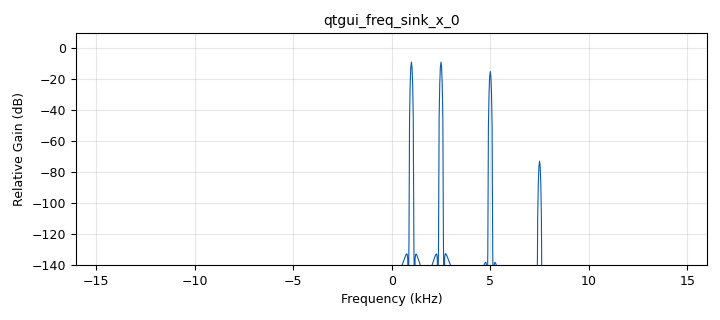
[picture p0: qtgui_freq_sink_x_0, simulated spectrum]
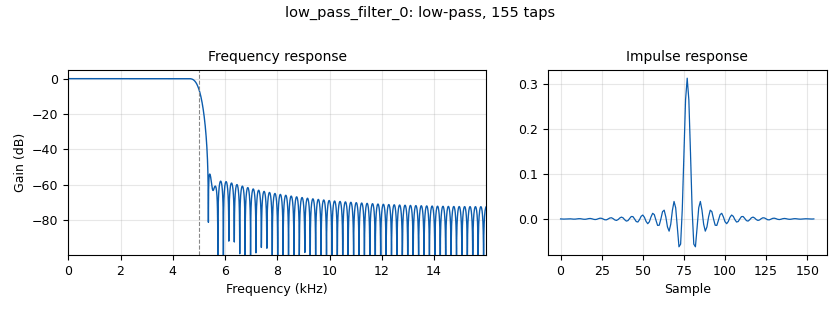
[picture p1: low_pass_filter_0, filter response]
options:
  parameters:
    generate_options: qt_gui
    id: synthetic_test
    output_language: python
    title: Not titled yet
  states: {}

blocks:
- name: cutoff
  id: variable
  parameters:
    value: cutoff_slider
  states: {}
- name: cutoff_slider
  id: variable_qtgui_range
  parameters:
    start: '0'
    step: '1'
    stop: '10000'
    value: '5000'
    widget: slider
  states: {}
- name: samp_rate
  id: variable
  parameters:
    value: '32000'
  states: {}
- name: analog_sig_source_x_0
  id: analog_sig_source_x
  parameters:
    amp: '1'
    freq: '1000'
    offset: '0'
    phase: '0'
    samp_rate: samp_rate
    type: complex
    waveform: analog.GR_COS_WAVE
  states: {}
- name: analog_sig_source_x_1
  id: analog_sig_source_x
  parameters:
    amp: '1'
    freq: '5000'
    offset: '0'
    phase: '0'
    samp_rate: samp_rate
    type: complex
    waveform: analog.GR_COS_WAVE
  states: {}
- name: analog_sig_source_x_2
  id: analog_sig_source_x
  parameters:
    amp: '1'
    freq: '2500'
    offset: '0'
    phase: '0'
    samp_rate: samp_rate
    type: complex
    waveform: analog.GR_COS_WAVE
  states: {}
- name: analog_sig_source_x_3
  id: analog_sig_source_x
  parameters:
    amp: '1'
    freq: '7500'
    offset: '0'
    phase: '0'
    samp_rate: samp_rate
    type: complex
    waveform: analog.GR_COS_WAVE
  states: {}
- name: blocks_add_xx_0
  id: blocks_add_xx
  parameters:
    type: complex
  states: {}
- name: blocks_add_xx_1
  id: blocks_add_xx
  parameters:
    type: complex
  states: {}
- name: blocks_add_xx_2
  id: blocks_add_xx
  parameters:
    type: complex
  states: {}
- name: blocks_throttle2_0
  id: blocks_throttle2
  parameters:
    samples_per_second: samp_rate
    type: complex
  states: {}
- name: low_pass_filter_0
  id: low_pass_filter
  parameters:
    cutoff_freq: cutoff
    decim: '1'
    gain: '1'
    samp_rate: samp_rate
    type: fir_filter_ccf
    width: '500'
    win: window.WIN_HAMMING
  states: {}
- name: qtgui_freq_sink_x_0
  id: qtgui_freq_sink_x
  parameters:
    bw: samp_rate
    fc: '0'
    fftsize: '1024'
    type: complex
  states: {}

connections:
- [analog_sig_source_x_0, '0', blocks_add_xx_0, '0']
- [analog_sig_source_x_1, '0', blocks_add_xx_0, '1']
- [analog_sig_source_x_2, '0', blocks_add_xx_1, '0']
- [analog_sig_source_x_3, '0', blocks_add_xx_1, '1']
- [blocks_add_xx_0, '0', blocks_add_xx_2, '0']
- [blocks_add_xx_1, '0', blocks_add_xx_2, '1']
- [blocks_add_xx_2, '0', blocks_throttle2_0, '0']
- [blocks_throttle2_0, '0', low_pass_filter_0, '0']
- [low_pass_filter_0, '0', qtgui_freq_sink_x_0, '0']

metadata:
  file_format: 1
  grc_version: 3.10.9.2
